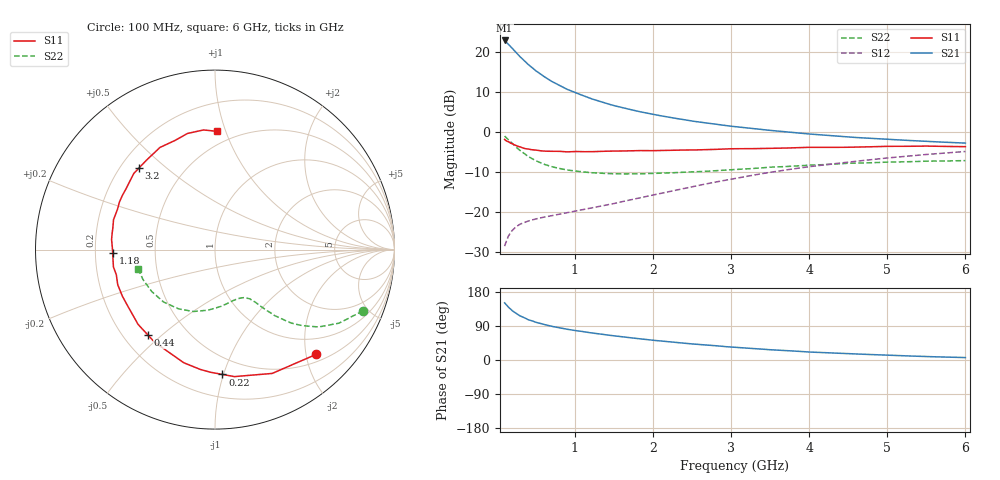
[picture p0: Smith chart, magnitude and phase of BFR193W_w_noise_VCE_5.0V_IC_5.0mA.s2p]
! Infineon Technologies  Discrete & RF Semiconductors
! BFR193W
! VCE =  5.0 V,  IC =  5.0 mA
! Common Emitter S-Parameters:  Nov 2015
# GHz  S  MA  R  50
!  f  S11  S21  S12  S22
! GHz  MAG  ANG  MAG  ANG  MAG  ANG  MAG  ANG
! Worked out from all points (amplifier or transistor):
!   192 points, 100 MHz to 6 GHz, reference 50 ohm
!   highest |S21| = 22.9 dB at 100 MHz (marker M1)
!   |S21| within 3 dB of that: start of sweep to 246.9 MHz
!   unconditionally stable (mu >= 1): 1.199 GHz to 2.57 GHz
!   at 440 MHz: K = 0.50, MSG = 19.1 dB, |S12| = -22.0 dB
!   at 1.7 GHz: K = 1.06, MAG = 9.8 dB, |S12| = -16.9 dB
!   at 6 GHz: K = 0.90, MSG = 1.0 dB, |S12| = -4.8 dB
!   lowest NFmin = 1.20 dB at 450 MHz
!   S11 on the Smith chart (normalised r, x): 100 MHz: 0.64, -2.19; 220 MHz: 0.37, -0.99; 440 MHz: 0.30, -0.45; 1.18 GHz: 0.27, -0.02; 3.2 GHz: 0.27, +0.41; 6 GHz: 0.40, +0.94
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0.1  0.811 -46.1  13.92 150.8  0.0378 67.1  0.8923 -22.5
0.15  0.76 -65.2  12.46 139.1  0.0508 58.7  0.8041 -30.6
0.2  0.7159 -81.3  11.05 129.7  0.0598 52.8  0.7211 -36.7
0.22  0.6968 -86.6  10.52 126.9  0.0624 50.9  0.6905 -38.3
0.26  0.6729 -96.9  9.55 121.1  0.0674 47.7  0.6343 -41.6
0.3  0.6541 -105.4  8.685 116.1  0.0712 45.5  0.5884 -44.0
0.4  0.6161 -123.1  7.005 106.5  0.0777 42.3  0.4979 -47.8
0.44  0.6052 -128.1  6.523 104.0  0.0797 41.8  0.4744 -48.5
0.5  0.5977 -135.8  5.828 99.6  0.0826 41.2  0.4392 -49.8
0.54  0.5888 -139.7  5.48 97.5  0.0843 41.4  0.4228 -50.4
0.6  0.5806 -145.7  4.973 93.9  0.0869 41.6  0.3984 -51.5
0.7  0.5775 -153.5  4.31 89.0  0.0906 42.5  0.3712 -52.4
0.9  0.5674 -165.6  3.424 81.2  0.0986 45.4  0.3372 -54.6
1.1  0.5706 -174.5  2.869 75.1  0.1077 48.9  0.3198 -57.5
1.18  0.5699 -177.9  2.675 72.5  0.1115 50.0  0.3137 -58.7
1.5  0.58 171.9  2.143 63.8  0.1286 55.0  0.3026 -64.4
2.08  0.5899 156.2  1.612 50.6  0.1706 61.1  0.3068 -76.1
3.1  0.6205 134.9  1.157 32.7  0.2697 62.1  0.3433 -99.2
3.2  0.6212 133.1  1.13 31.4  0.281 61.6  0.3478 -101.8
4.1  0.6457 116.7  0.932 20.3  0.3808 55.3  0.39 -124.2
5.1  0.6649 101.7  0.805 11.9  0.4857 46.0  0.424 -148.7
6  0.6589 88.9  0.73 6.4  0.5733 36.4  0.4416 -166.2
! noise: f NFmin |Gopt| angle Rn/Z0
0.45  1.2  0.26  102  0.14
0.9  1.25  0.38  145  0.12
1.8  2.05  0.56  -161  0.12
